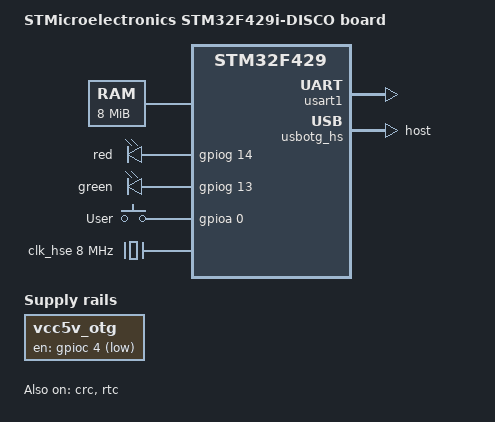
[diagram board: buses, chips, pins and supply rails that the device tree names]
// SPDX-License-Identifier: GPL-2.0+ OR X11
/*
 * Copyright 2015 - Maxime Coquelin <mcoquelin.stm32@gmail.com>
 */

/dts-v1/;
#include "stm32f429.dtsi"
#include "stm32f429-pinctrl.dtsi"
#include <dt-bindings/input/input.h>

/ {
	model = "STMicroelectronics STM32F429i-DISCO board";
	compatible = "st,stm32f429i-disco", "st,stm32f429";

	chosen {
		bootargs = "root=/dev/ram";
		stdout-path = "serial0:115200n8";
	};

	memory {
		device_type = "memory";
		reg = <0x90000000 0x800000>;
	};

	aliases {
		serial0 = &usart1;
	};

	leds {
		compatible = "gpio-leds";
		red {
			gpios = <&gpiog 14 0>;
		};
		green {
			gpios = <&gpiog 13 0>;
			linux,default-trigger = "heartbeat";
		};
	};

	gpio_keys {
		compatible = "gpio-keys";
		#address-cells = <1>;
		#size-cells = <0>;
		autorepeat;
		button@0 {
			label = "User";
			linux,code = <KEY_HOME>;
			gpios = <&gpioa 0 0>;
		};
	};

	/* This turns on vbus for otg for host mode (dwc2) */
	vcc5v_otg: vcc5v-otg-regulator {
		compatible = "regulator-fixed";
		gpio = <&gpioc 4 0>;
		regulator-name = "vcc5_host1";
		regulator-always-on;
	};
};

&clk_hse {
	clock-frequency = <8000000>;
};

&crc {
	status = "okay";
};

&rtc {
	assigned-clocks = <&rcc 1 CLK_RTC>;
	assigned-clock-parents = <&rcc 1 CLK_LSI>;
	status = "okay";
};

&usart1 {
	pinctrl-0 = <&usart1_pins_a>;
	pinctrl-names = "default";
	status = "okay";
};

&usbotg_hs {
	compatible = "st,stm32f4x9-fsotg";
	dr_mode = "host";
	pinctrl-0 = <&usbotg_fs_pins_b>;
	pinctrl-names = "default";
	status = "okay";
};
